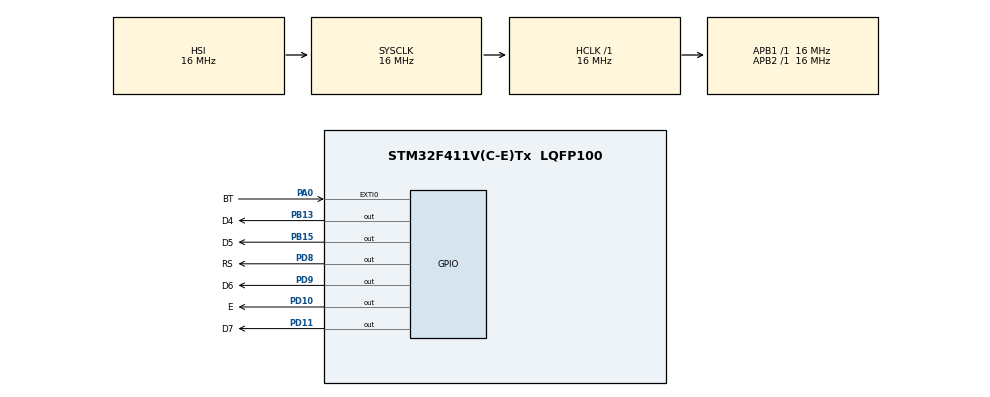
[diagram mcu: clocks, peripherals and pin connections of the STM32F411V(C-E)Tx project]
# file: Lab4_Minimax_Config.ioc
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Mcu.Family=STM32F4
Mcu.Name=STM32F411V(C-E)Tx
Mcu.Package=LQFP100
NVIC.EXTI0_IRQn=true\:0\:0\:false\:false\:true\:true\:true\:true
NVIC.PriorityGroup=NVIC_PRIORITYGROUP_4
PA0-WKUP.GPIO_Label=BT
PA0-WKUP.Signal=GPXTI0
PB13.GPIO_Label=D4
PB13.Signal=GPIO_Output
PB15.GPIO_Label=D5
PB15.Signal=GPIO_Output
PD10.GPIO_Label=E
PD10.Signal=GPIO_Output
PD11.GPIO_Label=D7
PD11.Signal=GPIO_Output
PD8.GPIO_Label=RS
PD8.Signal=GPIO_Output
PD9.GPIO_Label=D6
PD9.Signal=GPIO_Output
ProjectManager.HeapSize=0x200
ProjectManager.StackSize=0x400
ProjectManager.TargetToolchain=STM32CubeIDE
RCC.AHBFreq_Value=16000000
RCC.APB1Freq_Value=16000000
RCC.APB2Freq_Value=16000000
RCC.CortexFreq_Value=16000000
RCC.HSE_VALUE=25000000
RCC.HSI_VALUE=16000000
RCC.LSE_VALUE=32768
RCC.SYSCLKFreq_VALUE=16000000
RCC.VCOOutputFreq_Value=192000000
board=custom

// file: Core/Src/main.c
/* USER CODE BEGIN Header */
/**
 ******************************************************************************
 * @file    main.c
 * @brief   SOFE 4590U Lab 4 - STM32 Minimax AI Game
 *
 * STM32F411VETx
 *
 * Features:
 * - Deterministic Minimax AI
 * - Subtraction game (1, 2 or 3)
 * - Single-button human input (PA0)
 * - HD44780 16x2 LCD (4-bit mode)
 * - DWT CPU execution-time measurement
 * - Benchmarks at 20, 10 and 5 remaining
 * - Game-over display and restart
 ******************************************************************************
 */
/* USER CODE END Header */

#include "main.h"

/* USER CODE BEGIN Includes */
#include <stdint.h>
#include <stdio.h>
#include "game_logic.h"
#include "ai_timing.h"
/* USER CODE END Includes */

/* USER CODE BEGIN PD */
#define NUMBER_OF_TESTS 3
#define BUTTON_DEBOUNCE_MS 180U
#define MOVE_SELECTION_MS 1500U
/* USER CODE END PD */

/* USER CODE BEGIN PV */

/* Game state */
volatile int game_remaining = GAME_START_NUMBER;
volatile int human_move = 0;
volatile int ai_selected_move = 0;

/* AI timing */
volatile uint32_t ai_execution_cycles = 0;
volatile uint32_t ai_execution_us = 0;

/* Benchmark results */
volatile int test_remaining[NUMBER_OF_TESTS] =
{
    20, 10, 5
};

volatile int test_moves[NUMBER_OF_TESTS] = {0};

volatile uint32_t test_cycles[NUMBER_OF_TESTS] = {0};

volatile uint32_t test_time_us[NUMBER_OF_TESTS] = {0};

volatile int tests_completed = 0;

/* Button input */
static volatile uint32_t button_count = 0;
static volatile uint32_t first_press_tick = 0;
static volatile uint32_t last_press_tick = 0;
static volatile uint8_t selection_active = 0;

/* LCD text buffers */
static char lcd_line1[17];
static char lcd_line2[17];

/* USER CODE END PV */

/* Private function prototypes */
void SystemClock_Config(void);
static void MX_GPIO_Init(void);

/* USER CODE BEGIN PFP */
static void Delay_us(uint32_t us);
static void LCD_Init(void);
static void LCD_Show(const char *line1,
                     const char *line2);
static int Button_ReadMove(void);
static void Run_Benchmarks(void);
static void Run_Game(void);
static void Game_Over(int human_won);
/* USER CODE END PFP */

/* USER CODE BEGIN 0 */

/*
 * Microsecond delay using processor cycles.
 * DWT must be initialized first.
 */
static void Delay_us(uint32_t us)
{
    uint32_t cycles_per_us =
        HAL_RCC_GetHCLKFreq() / 1000000U;

    if (cycles_per_us == 0U)
    {
        return;
    }

    while (us > 0U)
    {
        uint32_t start = DWT->CYCCNT;

        while ((uint32_t)(DWT->CYCCNT - start)
               < cycles_per_us)
        {
            __NOP();
        }

        us--;
    }
}

/*
 * LCD low-level control.
 * Pins are defined by CubeMX in main.h.
 */

static void LCD_EnablePulse(void)
{
    HAL_GPIO_WritePin(
        E_GPIO_Port, E_Pin, GPIO_PIN_SET
    );

    Delay_us(2);

    HAL_GPIO_WritePin(
        E_GPIO_Port, E_Pin, GPIO_PIN_RESET
    );

    Delay_us(100);
}

static void LCD_WriteNibble(uint8_t nibble)
{
    HAL_GPIO_WritePin(
        D4_GPIO_Port, D4_Pin,
        (nibble & 0x01U) ?
        GPIO_PIN_SET : GPIO_PIN_RESET
    );

    HAL_GPIO_WritePin(
        D5_GPIO_Port, D5_Pin,
        (nibble & 0x02U) ?
        GPIO_PIN_SET : GPIO_PIN_RESET
    );

    HAL_GPIO_WritePin(
        D6_GPIO_Port, D6_Pin,
        (nibble & 0x04U) ?
        GPIO_PIN_SET : GPIO_PIN_RESET
    );

    HAL_GPIO_WritePin(
        D7_GPIO_Port, D7_Pin,
        (nibble & 0x08U) ?
        GPIO_PIN_SET : GPIO_PIN_RESET
    );

    LCD_EnablePulse();
}

static void LCD_WriteByte(uint8_t value,
                          uint8_t is_data)
{
    HAL_GPIO_WritePin(
        RS_GPIO_Port, RS_Pin,
        is_data ? GPIO_PIN_SET : GPIO_PIN_RESET
    );

    LCD_WriteNibble(value >> 4);
    LCD_WriteNibble(value & 0x0FU);
}

static void LCD_Command(uint8_t command)
{
    LCD_WriteByte(command, 0);

    if (command == 0x01U || command == 0x02U)
    {
        HAL_Delay(2);
    }
}

static void LCD_Data(uint8_t data)
{
    LCD_WriteByte(data, 1);
}

static void LCD_Init(void)
{
    HAL_GPIO_WritePin(
        RS_GPIO_Port, RS_Pin, GPIO_PIN_RESET
    );

    HAL_GPIO_WritePin(
        E_GPIO_Port, E_Pin, GPIO_PIN_RESET
    );

    HAL_Delay(50);

    LCD_WriteNibble(0x03);
    HAL_Delay(5);

    LCD_WriteNibble(0x03);
    Delay_us(200);

    LCD_WriteNibble(0x03);
    Delay_us(200);

    LCD_WriteNibble(0x02);
    Delay_us(200);

    LCD_Command(0x28);  /* 4-bit, 2 lines */
    LCD_Command(0x0C);  /* Display on */
    LCD_Command(0x06);  /* Increment cursor */
    LCD_Command(0x01);  /* Clear display */
}

static void LCD_PrintLine(uint8_t row,
                          const char *text)
{
    LCD_Command(row == 0U ? 0x80U : 0xC0U);

    uint8_t finished = 0U;

    for (int i = 0; i < 16; i++)
    {
        if (!finished && *text == '\0')
        {
            finished = 1U;
        }

        if (finished)
        {
            LCD_Data(' ');
        }
        else
        {
            LCD_Data((uint8_t)*text);
            text++;
        }
    }
}

static void LCD_Show(const char *line1,
                     const char *line2)
{
    LCD_PrintLine(0, line1);
    LCD_PrintLine(1, line2);
}

/*
 * Single-button move selection.
 *
 * Press once  -> subtract 1
 * Press twice -> subtract 2
 * Press 3x    -> subtract 3
 *
 * The move is confirmed after 1.5 seconds
 * from the first registered press.
 */
static int Button_ReadMove(void)
{
    button_count = 0;
    first_press_tick = 0;
    last_press_tick = 0;

    selection_active = 1U;

    /* Wait for first press */
    while (button_count == 0U)
    {
        HAL_Delay(10);
    }

    uint32_t start = first_press_tick;

    while ((uint32_t)(HAL_GetTick() - start)
           < MOVE_SELECTION_MS)
    {
        HAL_Delay(10);
    }

    selection_active = 0U;

    int result = (int)button_count;

    if (result < 1)
    {
        result = 1;
    }

    if (result > GAME_MAX_MOVE)
    {
        result = GAME_MAX_MOVE;
    }

    return result;
}

/*
 * Performance tests:
 * 20, 10 and 5 remaining.
 *
 * Results are accessible from the debugger.
 */
static void Run_Benchmarks(void)
{
    tests_completed = 0;

    for (int i = 0; i < NUMBER_OF_TESTS; i++)
    {
        uint32_t start_cycles =
            AI_Timer_Start();

        int move =
            find_best_move(test_remaining[i]);

        uint32_t elapsed_cycles =
            AI_Timer_GetCycles(start_cycles);

        test_moves[i] = move;
        test_cycles[i] = elapsed_cycles;

        test_time_us[i] =
            AI_Timer_CyclesToUs(
                elapsed_cycles,
                HAL_RCC_GetHCLKFreq()
            );

        tests_completed++;
    }
}

/*
 * Show the winner and restart instruction.
 */
static void Game_Over(int human_won)
{
    if (human_won)
    {
        LCD_Show(
            "Human Wins!",
            "Game Over"
        );
    }
    else
    {
        LCD_Show(
            "AI Wins!",
            "Game Over"
        );
    }

    HAL_Delay(2000);

    LCD_Show(
        "Game Finished",
        "Press to Restart"
    );

    (void)Button_ReadMove();
}

/*
 * Main subtraction game.
 */
static void Run_Game(void)
{
    game_remaining = GAME_START_NUMBER;

    LCD_Show(
        "Minimax AI Game",
        "Starting..."
    );

    HAL_Delay(1500);

    while (game_remaining > 0)
    {
        /* Human player */
        snprintf(
            lcd_line1,
            sizeof(lcd_line1),
            "Remaining:%d",
            game_remaining
        );

        LCD_Show(
            lcd_line1,
            "Press 1-3 times"
        );

        human_move = Button_ReadMove();

        if (human_move > game_remaining)
        {
            LCD_Show(
                "Invalid Move",
                "Please Try Again"
            );

            HAL_Delay(1200);
            continue;
        }

        game_remaining -= human_move;

        if (game_remaining == 0)
        {
            Game_Over(LAST_MOVE_WINS ? 1 : 0);
            return;
        }

        /* AI player */
        LCD_Show(
            "AI Thinking...",
            "Please Wait"
        );

        uint32_t start_cycles =
            AI_Timer_Start();

        ai_selected_move =
            find_best_move(game_remaining);

        ai_execution_cycles =
            AI_Timer_GetCycles(start_cycles);

        ai_execution_us =
            AI_Timer_CyclesToUs(
                ai_execution_cycles,
                HAL_RCC_GetHCLKFreq()
            );

        game_remaining -= ai_selected_move;

        snprintf(
            lcd_line1,
            sizeof(lcd_line1),
            "AI:-%d Left:%d",
            ai_selected_move,
            game_remaining
        );

        snprintf(
            lcd_line2,
            sizeof(lcd_line2),
            "Time:%lu us",
            (unsigned long)ai_execution_us
        );

        LCD_Show(
            lcd_line1,
            lcd_line2
        );

        /* Display time for observation/photos */
        HAL_Delay(5000);

        if (game_remaining == 0)
        {
            Game_Over(LAST_MOVE_WINS ? 0 : 1);
            return;
        }
    }
}

/* USER CODE END 0 */

/**
 * @brief Application entry point.
 */
int main(void)
{

    HAL_Init();

    SystemClock_Config();

    MX_GPIO_Init();

    /* USER CODE BEGIN 2 */

    AI_Timer_Init();

    LCD_Init();

    LCD_Show(
        "SOFE 4590U Lab4",
        "STM32 Minimax AI"
    );

    HAL_Delay(2000);

    Run_Benchmarks();

    /* USER CODE END 2 */

    while (1)
    {

        /* USER CODE BEGIN 3 */
        Run_Game();
    }
    /* USER CODE END 3 */
}

void SystemClock_Config(void)
{
    RCC_OscInitTypeDef RCC_OscInitStruct = {0};
    RCC_ClkInitTypeDef RCC_ClkInitStruct = {0};

    __HAL_RCC_PWR_CLK_ENABLE();

    __HAL_PWR_VOLTAGESCALING_CONFIG(
        PWR_REGULATOR_VOLTAGE_SCALE1
    );

    RCC_OscInitStruct.OscillatorType =
        RCC_OSCILLATORTYPE_HSI;

    RCC_OscInitStruct.HSIState = RCC_HSI_ON;

    RCC_OscInitStruct.HSICalibrationValue =
        RCC_HSICALIBRATION_DEFAULT;

    RCC_OscInitStruct.PLL.PLLState = RCC_PLL_NONE;

    if (HAL_RCC_OscConfig(&RCC_OscInitStruct)
        != HAL_OK)
    {
        Error_Handler();
    }

    RCC_ClkInitStruct.ClockType =
        RCC_CLOCKTYPE_HCLK |
        RCC_CLOCKTYPE_SYSCLK |
        RCC_CLOCKTYPE_PCLK1 |
        RCC_CLOCKTYPE_PCLK2;

    RCC_ClkInitStruct.SYSCLKSource =
        RCC_SYSCLKSOURCE_HSI;

    RCC_ClkInitStruct.AHBCLKDivider =
        RCC_SYSCLK_DIV1;

    RCC_ClkInitStruct.APB1CLKDivider =
        RCC_HCLK_DIV1;

    RCC_ClkInitStruct.APB2CLKDivider =
        RCC_HCLK_DIV1;

    if (HAL_RCC_ClockConfig(
        &RCC_ClkInitStruct,
        FLASH_LATENCY_0
    ) != HAL_OK)
    {
        Error_Handler();
    }
}

static void MX_GPIO_Init(void)
{
    GPIO_InitTypeDef GPIO_InitStruct = {0};

    /* GPIO Ports Clock Enable */
    __HAL_RCC_GPIOA_CLK_ENABLE();
    __HAL_RCC_GPIOB_CLK_ENABLE();
    __HAL_RCC_GPIOD_CLK_ENABLE();

    /* Configure LCD output levels */
    HAL_GPIO_WritePin(
        GPIOB,
        D4_Pin | D5_Pin,
        GPIO_PIN_RESET
    );

    HAL_GPIO_WritePin(
        GPIOD,
        RS_Pin | D6_Pin | E_Pin | D7_Pin,
        GPIO_PIN_RESET
    );

    /* PA0 button: rising-edge interrupt */
    GPIO_InitStruct.Pin = BT_Pin;
    GPIO_InitStruct.Mode = GPIO_MODE_IT_RISING;
    GPIO_InitStruct.Pull = GPIO_NOPULL;

    HAL_GPIO_Init(
        BT_GPIO_Port,
        &GPIO_InitStruct
    );

    /* LCD GPIOB outputs */
    GPIO_InitStruct.Pin = D4_Pin | D5_Pin;
    GPIO_InitStruct.Mode = GPIO_MODE_OUTPUT_PP;
    GPIO_InitStruct.Pull = GPIO_NOPULL;
    GPIO_InitStruct.Speed = GPIO_SPEED_FREQ_LOW;

    HAL_GPIO_Init(
        GPIOB,
        &GPIO_InitStruct
    );

    /* LCD GPIOD outputs */
    GPIO_InitStruct.Pin =
        RS_Pin | D6_Pin | E_Pin | D7_Pin;

    GPIO_InitStruct.Mode = GPIO_MODE_OUTPUT_PP;
    GPIO_InitStruct.Pull = GPIO_NOPULL;
    GPIO_InitStruct.Speed = GPIO_SPEED_FREQ_LOW;

    HAL_GPIO_Init(
        GPIOD,
        &GPIO_InitStruct
    );

    /* EXTI interrupt initialization */
    HAL_NVIC_SetPriority(EXTI0_IRQn, 0, 0);
    HAL_NVIC_EnableIRQ(EXTI0_IRQn);

}

/* USER CODE BEGIN 4 */

/*
 * PA0 interrupt callback.
 *
 * Requires the CubeMX-generated EXTI0_IRQHandler
 * to call HAL_GPIO_EXTI_IRQHandler(BT_Pin).
 */
void HAL_GPIO_EXTI_Callback(uint16_t GPIO_Pin)
{
    if (GPIO_Pin != BT_Pin)
    {
        return;
    }

    if (!selection_active)
    {
        return;
    }

    uint32_t now = HAL_GetTick();

    if (button_count == 0U)
    {
        button_count = 1U;
        first_press_tick = now;
        last_press_tick = now;
    }
    else if ((uint32_t)(now - last_press_tick)
             >= BUTTON_DEBOUNCE_MS)
    {
        if (button_count < GAME_MAX_MOVE)
        {
            button_count++;
        }

        last_press_tick = now;
    }
}

/* USER CODE END 4 */

/**
 * @brief Error handler
 */
void Error_Handler(void)
{
    __disable_irq();
    while (1)
    {
    }
}

#ifdef USE_FULL_ASSERT
void assert_failed(uint8_t *file, uint32_t line)
{
    /* USER CODE BEGIN 6 */
    (void)file;
    (void)line;
    /* USER CODE END 6 */
}
#endif
